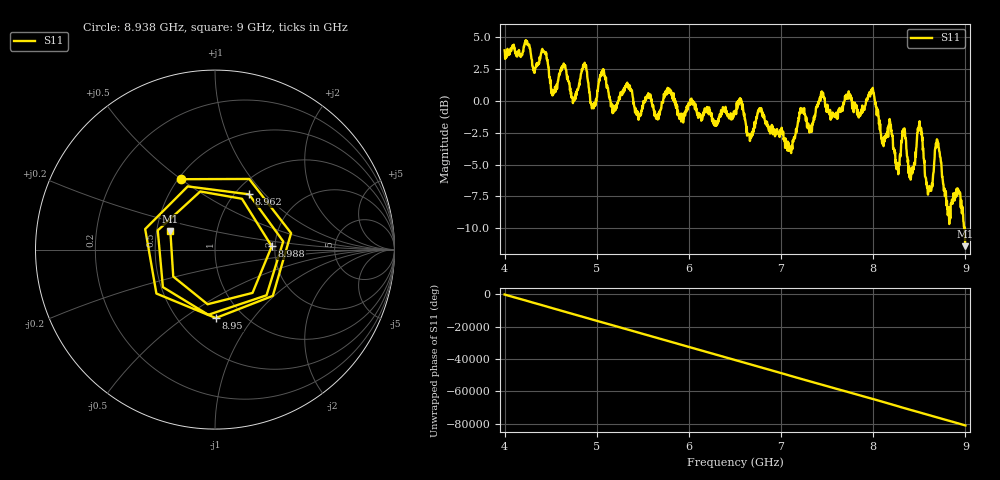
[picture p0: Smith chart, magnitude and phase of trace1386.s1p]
! Created with skrf 1.8.0 (http://scikit-rf.org).
# Hz S RI R 50.0
!freq ReS11 ImS11
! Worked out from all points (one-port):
!   1601 points, 4 GHz to 9 GHz, reference 50 ohm
!   lowest |S11| = -11.4 dB at 9 GHz (marker M1), VSWR 1.73, Z = 29.6 + j6.47 ohm
!   |S11| at or under -10 dB: 8.991741 GHz to end of sweep
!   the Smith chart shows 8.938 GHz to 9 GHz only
!   S11 on the Smith chart (normalised r, x): 8.938 GHz: 0.51, +0.50; 8.95 GHz: 0.75, -0.67; 8.962 GHz: 1.16, +0.82; 8.988 GHz: 1.92, +0.08; 9 GHz: 0.59, +0.13
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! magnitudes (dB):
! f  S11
! 4 GHz  4.0
! 4.428 GHz  3.9
! 4.531 GHz  0.8
! 4.625 GHz  2.7
! 4.744 GHz  -0.1
! 4.862 GHz  2.7
! 4.953 GHz  -0.3
! 5.059 GHz  2.1
! 5.25 GHz  0.2
! 5.875 GHz  -1.1
! 6.5 GHz  -0.9
! 7.125 GHz  -3.1
! 7.225 GHz  -0.7
! 7.75 GHz  0.2
! 7.991 GHz  0.8
! 8.103 GHz  -3.3
! 8.331 GHz  -2.2
! 8.375 GHz  -4.8
! 8.431 GHz  -5.4
! 8.503 GHz  -1.6
! 8.603 GHz  -6.9
! 8.694 GHz  -3.0
! 8.812 GHz  -8.7
! 8.938 GHz  -7.2
! 8.95 GHz  -8.4
! 8.962 GHz  -8.8
! 8.988 GHz  -10.0
! 9 GHz  -11.4
